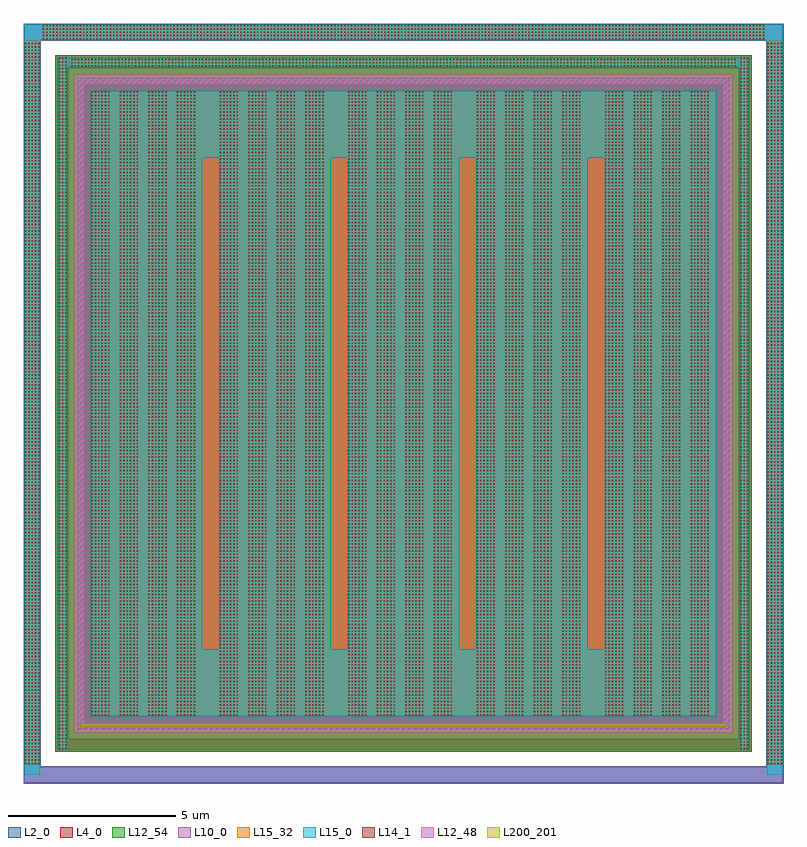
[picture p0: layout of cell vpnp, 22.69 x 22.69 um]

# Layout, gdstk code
import gdstk
lib = gdstk.Library(unit=1e-6, precision=1e-09)
def R(c, l, rs):  # rectangles x0, y0, x1, y1
    for r in rs: c.add(gdstk.rectangle(r[:2], r[2:], *l))
def A(c, l, x, y, w, h, nx, ny, dx, dy):  # array of equal rectangles
    R(c, l, [(x+i*dx, y+j*dy, x+i*dx+w, y+j*dy+h) for i in range(nx) for j in range(ny)])
L2_0 = (2, 0)
L4_0 = (4, 0)
L10_0 = (10, 0)
L12_48 = (12, 48)
L12_54 = (12, 54)
L14_1 = (14, 1)
L15_0 = (15, 0)
L15_32 = (15, 32)
L200_201 = (200, 201)

vpnp = lib.new_cell('vpnp')
R(vpnp, L2_0, [(-17.829,-9.859,4.823,-9.379), (-17.829,-9.379,-17.349,12.313), (4.343,-9.379,4.823,12.313), (-16.849,-8.879,3.843,-8.539), (-16.849,-8.539,-16.509,11.473), (3.503,-8.539,3.843,11.473), (-16.153,-8.183,3.147,11.117), (-16.849,11.473,3.843,11.813), (-17.829,12.313,4.823,12.793)])
R(vpnp, L4_0, [(-16.905,-8.935,3.899,11.869)])
R(vpnp, L10_0, [(-17.85,-9.88,4.844,-9.358), (-17.85,-9.358,-17.328,12.292), (4.322,-9.358,4.844,12.292), (-16.223,-8.253,3.217,11.187), (-17.85,12.292,4.844,12.814)])
R(vpnp, L12_48, [(-16.334,-8.364,3.328,-8.058), (-16.334,-8.058,-16.028,10.992), (3.022,-8.058,3.328,10.992), (-16.334,10.992,3.328,11.298)])
R(vpnp, L12_54, [(-16.905,-8.935,3.899,11.869)])
A(vpnp, L14_1, -17.809, -9.303, 0.04, 0.04, 5, 216, 0.1, 0.1)
A(vpnp, L14_1, 4.363, -9.303, 0.04, 0.04, 5, 216, 0.1, 0.1)
A(vpnp, L14_1, -16.799, -8.853, 0.04, 0.04, 3, 207, 0.1, 0.1)
A(vpnp, L14_1, 3.553, -8.853, 0.04, 0.04, 3, 207, 0.1, 0.1)
A(vpnp, L14_1, -15.823, -7.853, 0.04, 0.04, 6, 187, 0.1, 0.1)
A(vpnp, L14_1, -14.971, -7.853, 0.04, 0.04, 6, 187, 0.1, 0.1)
A(vpnp, L14_1, -14.119, -7.853, 0.04, 0.04, 6, 187, 0.1, 0.1)
A(vpnp, L14_1, -13.267, -7.853, 0.04, 0.04, 6, 187, 0.1, 0.1)
A(vpnp, L14_1, -11.987, -7.853, 0.04, 0.04, 6, 187, 0.1, 0.1)
A(vpnp, L14_1, -11.135, -7.853, 0.04, 0.04, 6, 187, 0.1, 0.1)
A(vpnp, L14_1, -10.283, -7.853, 0.04, 0.04, 6, 187, 0.1, 0.1)
A(vpnp, L14_1, -9.431, -7.853, 0.04, 0.04, 6, 187, 0.1, 0.1)
A(vpnp, L14_1, -8.152, -7.853, 0.04, 0.04, 6, 187, 0.1, 0.1)
A(vpnp, L14_1, -7.3, -7.853, 0.04, 0.04, 6, 187, 0.1, 0.1)
A(vpnp, L14_1, -6.448, -7.853, 0.04, 0.04, 6, 187, 0.1, 0.1)
A(vpnp, L14_1, -5.596, -7.853, 0.04, 0.04, 6, 187, 0.1, 0.1)
A(vpnp, L14_1, -4.317, -7.853, 0.04, 0.04, 6, 187, 0.1, 0.1)
A(vpnp, L14_1, -3.465, -7.853, 0.04, 0.04, 6, 187, 0.1, 0.1)
A(vpnp, L14_1, -2.613, -7.853, 0.04, 0.04, 6, 187, 0.1, 0.1)
A(vpnp, L14_1, -1.761, -7.853, 0.04, 0.04, 6, 187, 0.1, 0.1)
A(vpnp, L14_1, -0.482, -7.853, 0.04, 0.04, 6, 187, 0.1, 0.1)
A(vpnp, L14_1, 0.37, -7.853, 0.04, 0.04, 6, 187, 0.1, 0.1)
A(vpnp, L14_1, 1.222, -7.853, 0.04, 0.04, 6, 187, 0.1, 0.1)
A(vpnp, L14_1, 2.074, -7.853, 0.04, 0.04, 6, 187, 0.1, 0.1)
A(vpnp, L14_1, -16.423, 11.523, 0.04, 0.04, 199, 3, 0.1, 0.1)
A(vpnp, L14_1, -17.273, 12.333, 0.04, 0.04, 216, 5, 0.1, 0.1)
A(vpnp, L15_0, -12.005, -5.871, 3.335, 14.676, 4, 1, 3.835, 0)
R(vpnp, L15_0, [(-17.827,-9.619,-17.351,12.791), (4.345,-9.619,4.821,12.791), (-16.817,-8.871,-16.541,11.805), (3.535,-8.871,3.811,11.805), (-15.841,-7.871,2.835,-5.871), (-15.841,-5.871,-12.506,8.805), (-15.841,8.805,2.835,10.805), (-16.541,11.505,3.535,11.805), (-17.351,12.315,4.345,12.791)])
R(vpnp, L15_32, [(-17.827,-9.321,-17.351,12.315), (4.345,-9.321,4.821,12.315), (-16.817,-8.871,-16.541,11.805), (3.535,-8.871,3.811,11.805), (-15.841,-7.871,2.835,10.805), (-16.441,11.505,3.435,11.781), (-17.291,12.315,4.285,12.791)])
R(vpnp, L200_201, [(-16.153,-8.183,3.147,-8.083)])

lib.write_gds('vpnp.gds')
